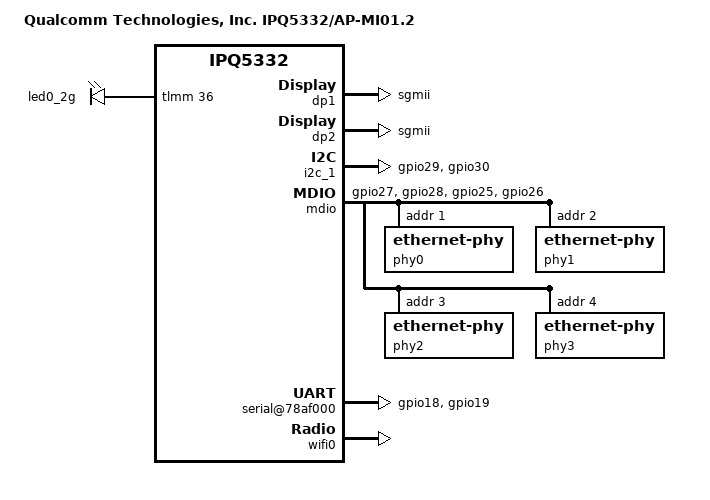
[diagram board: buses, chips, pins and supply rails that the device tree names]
// SPDX-License-Identifier: (GPL-2.0+ OR BSD-3-Clause)
/*
 * IPQ5332 AP-MI01.2 board device tree source
 *
 * Copyright (c) 2020-2021 The Linux Foundation. All rights reserved.
 * Copyright (c) 2022 Qualcomm Innovation Center, Inc. All rights reserved.
 */

/dts-v1/;

#include "ipq5332.dtsi"

#ifdef __IPQ_MEM_PROFILE_512_MB__
#include "ipq5332-512MB-memory.dtsi"
#else
#include "ipq5332-default-memory.dtsi"
#endif

/ {
	#address-cells = <0x2>;
	#size-cells = <0x2>;
	model = "Qualcomm Technologies, Inc. IPQ5332/AP-MI01.2";
	compatible = "qcom,ipq5332-ap-mi01.2", "qcom,ipq5332";
	interrupt-parent = <&intc>;

	aliases {
		serial0 = &blsp1_uart0;
		ethernet0 = "/soc/dp1";
		ethernet1 = "/soc/dp2";
	};

	chosen {
		linux,initrd-end = <0x57000000>;
		linux,initrd-start = <0x55000000>;
		bootargs = "root=/dev/ram0 rw init=/init";
		stdout-path = "serial0";
		bootargs-append = " clk_ignore_unused";
	};

	cpus {
		CPU0: cpu@0 {
			enable-method = "qcom,arm-cortex-acc";
			qcom,acc = <&acc0>;
			/delete-property/ clocks;
			/delete-property/ clock-latency;
			/delete-property/ operating-points-v2;
		};

		CPU1: cpu@1 {
			enable-method = "qcom,arm-cortex-acc";
			qcom,acc = <&acc1>;
			/delete-property/ clocks;
			/delete-property/ clock-latency;
			/delete-property/ operating-points-v2;
		};

		CPU2: cpu@2 {
			enable-method = "qcom,arm-cortex-acc";
			qcom,acc = <&acc2>;
			/delete-property/ clocks;
			/delete-property/ clock-latency;
			/delete-property/ operating-points-v2;
		};

		CPU3: cpu@3 {
			enable-method = "qcom,arm-cortex-acc";
			qcom,acc = <&acc3>;
			/delete-property/ clocks;
			/delete-property/ clock-latency;
			/delete-property/ operating-points-v2;
		};

		/delete-node/ cpu_opp_table;
	};

	/*
	 * Below nodes are applicable for all RDPs, hence enabled by
	 * default in base dtsi file itself.
	 * So, rather than marking these nodes with status = "disabled",
	 * delete it. Once verified in silicon, we can remove the below
	 * snippet.
	 */

	/* Below nodes are QSEE dependent */
	/delete-node/ firmware;
	/delete-node/ qti,tzlog;
	/delete-node/ qti,scm_restart_reason;
	/delete-node/ psci;
	/delete-node/ ctx-save;
	/delete-node/ qseecom;

	/* Misc nodes */
	/delete-node/ pmu;
	/delete-node/ pmu-v7;
	/delete-node/ qti,sps;
	/delete-node/ qcom,test@0;
	/delete-node/ qti,gadget_diag@0;

	soc {

		/*
		 * Below nodes are applicable for all RDPs, hence enabled by
		 * default in base dtsi file itself.
		 * So, rather than marking these nodes with status = "disabled",
		 * delete it. Once verified in silicon, we can remove the below
		 * snippet.
		 */

		/* Misc nodes */
		/delete-node/ prng@e3000;
		/delete-node/ watchdog@b017000;
		/delete-node/ qcom,msm-imem@8600000;

		/* APSS clock node */
		/delete-node/ qcom,apss_clk@b111000;

		/delete-node/ syscon@193d100;
		/delete-node/ syscon@1905000;
		/delete-node/ hwlock;
		/delete-node/ smem;
		/delete-node/ scm;

		/* QDSS & DCC nodes */
		/delete-node/ dcc_v2@797f000;
		/delete-node/ csr@4001000;
		/delete-node/ stm@4002000;
		/delete-node/ funnel@4041000;
		/delete-node/ funnel@4042000;
		/delete-node/ funnel@4045000;
		/delete-node/ replicator@4046000;
		/delete-node/ etf@4047000;
		/delete-node/ tmc@4048000;
		/delete-node/ cti@5098000;
		/delete-node/ etm@509c000;
		/delete-node/ cti@5099000;
		/delete-node/ etm@509d000;
		/delete-node/ cti@509a000;
		/delete-node/ etm@509e000;
		/delete-node/ cti@509b000;
		/delete-node/ etm@509f000;
		/delete-node/ funnel@50a1000;

		/*
		 * Below nodes are referenced by other nodes, deleting it
		 * will lead to build error, so disable it.
		 */
		mailbox@b111000 {
			status = "disabled";
		};
		wcss-smp2p {
			status = "disabled";
		};
		syscon@1945000 {
			status = "disabled";
		};
		remoteproc@d100000 {
			status = "disabled";
		};
		dma@7884000 {
			status = "disabled";
		};

		/* GIC MSI are not needed for the initial bringup */
		interrupt-controller@b000000 {
			/delete-node/ v2m@0;
			/delete-node/ v2m@1;
			/delete-node/ v2m@2;
		};

		/* Not needed for the initial bringup */
		ess-instance {
			status = "disabled";
		};

		acc0: clock-controller@b188000 {
			compatible = "qcom,arm-cortex-acc";
			reg = <0x0b188000 0x1000>;
		};

		acc1: clock-controller@b198000 {
			compatible = "qcom,arm-cortex-acc";
			reg = <0x0b198000 0x1000>;
		};

		acc2: clock-controller@b1a8000 {
			compatible = "qcom,arm-cortex-acc";
			reg = <0x0b1a8000 0x1000>;
		};

		acc3: clock-controller@b1b8000 {
			compatible = "qcom,arm-cortex-acc";
			reg = <0x0b1b8000 0x1000>;
		};

		pinctrl@1000000 {
			emmc_pins: emmc_pins {
				emmc_clk {
					pins = "gpio13";
					function = "sdc_clk";
					drive-strength = <8>;
					bias-pull-down;
				};
				emmc_cmd {
					pins = "gpio12";
					function = "sdc_cmd";
					drive-strength = <8>;
					bias-pull-up;
				};
				emmc_data {
					pins = "gpio8", "gpio9", "gpio10",
						"gpio11";
					function = "sdc_data";
					drive-strength = <8>;
					bias-pull-down;
				};
			};

			qspi_nand_pins: qspi_nand_pins {
				qspi_clock {
					pins = "gpio13";
					function = "qspi_clk";
					drive-strength = <8>;
					bias-pull-down;
				};

				qspi_cs {
					pins = "gpio12";
					function = "qspi_cs";
					drive-strength = <8>;
					bias-pull-up;
				};

				qspi_data {
					pins = "gpio8", "gpio9", "gpio10", "gpio11";
					function = "qspi_data";
					drive-strength = <8>;
					bias-pull-down;
				};
			};

			serial_0_pins: serial0-pinmux {
				pins = "gpio18", "gpio19";
				function = "blsp0_uart0";
				drive-strength = <8>;
				bias-pull-up;
			};

			i2c_1_pins: i2c-1-pinmux {
				pins = "gpio29", "gpio30";
				function = "blsp1_i2c0";
				drive-strength = <8>;
				bias-pull-up;
			};

			leds_pins: leds_pinmux {
				led0_2g {
					pins = "gpio36";
					function = "gpio";
					drive-strength = <8>;
					bias-pull-down;
				};
			};

			mdio0_pins: mdio_pinmux {
				mux_0 {
					pins = "gpio25";
					function = "mdc0";
					drive-strength = <8>;
					bias-disable;
				};
				mux_1 {
					pins = "gpio26";
					function = "mdio0";
					drive-strength = <8>;
					bias-pull-up;
				};
			};

			mdio1_pins: mdio_pinmux {
				mux_0 {
					pins = "gpio27";
					function = "mdc1";
					drive-strength = <8>;
					bias-disable;
				};
				mux_1 {
					pins = "gpio28";
					function = "mdio1";
					drive-strength = <8>;
					bias-pull-up;
				};
			};

			sfp_pins: sfp_pinmux {
				sfp_rx {
					pins = "gpio45";
					function = "rx1";
					bias-disable;
				};
				sfp_tx {
					pins = "gpio24";
					function = "gpio";
					drive-strength = <8>;
					bias-pull-down;
					output-low;
				};
			};
		};

		gcc@1800000 {
			gcc-use-dummy;
		};

		nsscc@39b00000 {
			nsscc-use-dummy;
		};

		dp1 {
			device_type = "network";
			compatible = "qcom,nss-dp";
			qcom,id = <1>;
			reg = <0x3a504000 0x4000>;
			qcom,mactype = <1>;
			local-mac-address = [000000000000];
			mdio-bus = <&mdio>;
			qcom,phy-mdio-addr = <30>;
			qcom,link-poll = <1>;
			phy-mode = "sgmii";
		};

		dp2 {
			device_type = "network";
			compatible = "qcom,nss-dp";
			qcom,id = <2>;
			reg = <0x3a500000 0x4000>;
			qcom,mactype = <1>;
			local-mac-address = [000000000000];
			phy-mode = "sgmii";
		};

		i2c_1: i2c@78b6000 {
			status = "ok";
			pinctrl-0 = <&i2c_1_pins>;
			pinctrl-names = "default";
		};

		mdio:mdio@90000 {
			status = "ok";
			pinctrl-0 = <&mdio1_pins &mdio0_pins>;
			pinctrl-names = "default";
			/*gpio16 for manhattan reset*/
			phy-reset-gpio = <&tlmm 16 0>;
			phyaddr_fixup = <0xC90F018>;
			uniphyaddr_fixup = <0xC90F014>;
			mdio_clk_fixup; /* MDIO clock sequence fix up flag */

			phy0: ethernet-phy@0 {
				reg = <1>;
				fixup;
			};
			phy1: ethernet-phy@1 {
				reg = <2>;
				fixup;
			};
			phy2: ethernet-phy@2 {
				reg = <3>;
				fixup;
			};
			phy3: ethernet-phy@3 {
				reg = <4>;
				fixup;
			};
		};

		ess-instance {
			num_devices = <0x2>;
			ess-switch@3a000000 {
				pinctrl-0 = <&sfp_pins>;
				pinctrl-names = "default";
				switch_cpu_bmp = <0x1>;  /* cpu port bitmap */
				switch_lan_bmp = <0x2>; /* lan port bitmap */
				switch_wan_bmp = <0x4>; /* wan port bitmap */
				switch_mac_mode = <0xc>; /* mac mode for uniphy instance0*/
				switch_mac_mode1 = <0xe>; /* mac mode for uniphy instance1*/
				switch_mac_mode2 = <0xff>; /* mac mode for uniphy instance2*/
				qcom,port_phyinfo {
					port@0 {
						port_id = <1>;
						forced-speed = <2500>;
						forced-duplex = <1>;
					};
					port@1 {
						port_id = <2>;
						phy_address = <30>;
						media-type = "sfp"; /* fiber mode */
						sfp_rx_los_pin = <&tlmm 45 0>;
						sfp_tx_dis_pin = <&tlmm 24 0>;
					};
				};
			};

			ess-switch1@0xc000000 {
				compatible = "qcom,ess-switch-qca8386";
				device_id = <1>;
				switch_access_mode = "mdio";
				mdio-bus = <&mdio>;
				switch_mac_mode = <0xc>; /* mac mode for uniphy instance0 */
				switch_mac_mode1 = <0xff>; /* mac mode1 for uniphy instance1 */
				switch_cpu_bmp = <0x1>;  /* cpu port bitmap */
				switch_lan_bmp = <0x1e>; /* lan port bitmap */
				switch_wan_bmp = <0x0>;  /* wan port bitmap */
				//link-polling-required = <0>;
				//link-intr-gpio = <&tlmm 23 0>;
				qcom,port_phyinfo {
					port@0 {
						port_id = <0>;
						forced-speed = <2500>;
						forced-duplex = <1>;
					};
					port@1 {
						port_id = <1>;
						phy_address = <1>;
					};
					port@2 {
						port_id = <2>;
						phy_address = <2>;
					};
					port@3 {
						port_id = <3>;
						phy_address = <3>;
					};
					port@4 {
						port_id = <4>;
						phy_address = <4>;
					};
				};
			};
		};

		/* EDMA host driver configuration for the board */
		edma@3ab00000 {
			qcom,txdesc-ring-start = <4>;		/* Tx desc ring start ID */
			qcom,txdesc-rings = <12>;		/* Total number of Tx desc rings to be provisioned */
			qcom,txcmpl-ring-start = <4>;		/* Tx complete ring start ID */
			qcom,txcmpl-rings = <12>;		/* Total number of Tx complete rings to be provisioned */
			qcom,rxfill-ring-start = <4>;		/* Rx fill ring start ID */
			qcom,rxfill-rings = <4>;		/* Total number of Rx fill rings to be provisioned */
			qcom,rxdesc-ring-start = <12>;		/* Rx desc ring start ID */
			qcom,rxdesc-rings = <4>;		/* Total number of Rx desc rings to be provisioned */
			qcom,rx-page-mode = <0>;		/* Rx fill ring page mode */
			qcom,tx-map-priority-level = <1>;	/* Tx priority level per port */
			qcom,rx-map-priority-level = <1>;	/* Rx priority level per core */
			qcom,txdesc-map = <8 9 10 11>,		/* Port0 per-core Tx ring map */
					  <12 13 14 15>,	/* Port1 per-core Tx ring map */
					  <4 5 6 7>;		/* used only for packets from  vp*/
			qcom,txdesc-fc-grp-map = <1 2>;		/* Per GMAC flow control group map */
			qcom,rxfill-map = <4 5 6 7>;		/* Per-core Rx fill ring map */
			qcom,rxdesc-map = <12 13 14 15>;	/* Per-core Rx desc ring map */
			qcom,rx-queue-start = <0>;		/* Rx queue start */
			qcom,rx-ring-queue-map = <0 8 16 24>,	/* Priority 0 queues per-core Rx ring map */
						<1 9 17 25>,	/* Priority 1 queues per-core Rx ring map */
						<2 10 18 26>,	/* Priority 2 queues per-core Rx ring map */
						<3 11 19 27>,	/* Priority 3 queues per-core Rx ring map */
						<4 12 20 28>,	/* Priority 4 queues per-core Rx ring map */
						<5 13 21 29>,	/* Priority 5 queues per-core Rx ring map */
						<6 14 22 30>,	/* Priority 6 queues per-core Rx ring map */
						<7 15 23 31>;	/* Priority 7 queues per-core Rx ring map */
			interrupts = <0 163 4>,			/* Tx complete ring id #4 IRQ info */
				   <0 164 4>,			/* Tx complete ring id #5 IRQ info */
				   <0 165 4>,			/* Tx complete ring id #6 IRQ info */
				   <0 166 4>,			/* Tx complete ring id #7 IRQ info */
				   <0 167 4>,			/* Tx complete ring id #8 IRQ info */
				   <0 168 4>,			/* Tx complete ring id #9 IRQ info */
				   <0 169 4>,			/* Tx complete ring id #10 IRQ info */
				   <0 170 4>,			/* Tx complete ring id #11 IRQ info */
				   <0 171 4>,			/* Tx complete ring id #12 IRQ info */
				   <0 172 4>,			/* Tx complete ring id #13 IRQ info */
				   <0 173 4>,			/* Tx complete ring id #14 IRQ info */
				   <0 174 4>,			/* Tx complete ring id #15 IRQ info */
				   <0 139 4>,			/* Rx desc ring id #12 IRQ info */
				   <0 140 4>,			/* Rx desc ring id #13 IRQ info */
				   <0 141 4>,			/* Rx desc ring id #14 IRQ info */
				   <0 142 4>,			/* Rx desc ring id #15 IRQ info */
				   <0 191 4>;			/* Misc error IRQ info */
		};

		serial@78af000 {
			pinctrl-0 = <&serial_0_pins>;
			pinctrl-names = "default";
			status = "ok";
		};

		i2c@78b6000 {
			pinctrl-0 = <&i2c_1_pins>;
			pinctrl-names = "default";
		};

		dma@7984000 {
			status = "disabled";
		};

		nand@79b0000 {
			pinctrl-0 = <&qspi_nand_pins>;
			pinctrl-names = "default";
			status = "disabled";
		};

		usb3@8A00000 {
			status = "disabled";

			dwc3@8A00000 {
				/delete-property/ #phy-cells;
				/delete-property/ phys;
				/delete-property/ phy-names;
			};
		};

		hs_m31phy@7b000 {
			status = "disabled";
		};

		leds {
			compatible = "gpio-leds";
			pinctrl-0 = <&leds_pins>;
			pinctrl-names = "default";
			led@36 {
				label = "led0_2g";
				gpios = <&tlmm 36 GPIO_ACTIVE_HIGH>;
				linux,default-trigger = "led_2g";
				default-state = "off";
			};
		};

		phy@4b0000 {
			status = "disabled";
		};

		phy_x2@4b1000 {
			status = "disabled";
		};

		pcie@18000000 {
			/* Deleting to avoid build error, can be removed once GIC MSI is verified */
			/delete-property/ msi-parent;
			max-link-speed = <1>;
			perst-gpio = <&tlmm 47 GPIO_ACTIVE_LOW>;
			status = "disabled";
			pcie1_rp {
				reg = <0 0 0 0 0>;

				qcom,mhi@1 {
					reg = <0 0 0 0 0>;
				};
			};
		};

		pcie@20000000 {
			/* Deleting to avoid build error, can be removed once GIC MSI is verified */
			/delete-property/ msi-parent;
			max-link-speed = <1>;
			perst-gpio = <&tlmm 38 GPIO_ACTIVE_LOW>;
			status = "disabled";
			pcie0_rp {
				reg = <0 0 0 0 0>;

				qcom,mhi@2 {
					reg = <0 0 0 0 0>;
				};
			};
		};

		/* Deleting to avoid build error, can be removed once GIC MSI is verified */
		pcie@10000000 {
			/delete-property/ msi-parent;
		};
	};
};

&wifi0 {
	qcom,rproc = <&q6_wcss_pd1>;
	qcom,multipd_arch;
	qcom,userpd-subsys-name = "q6v5_wcss_userpd1";
	mem-region = <&q6_region>;
	status = "ok";
};
